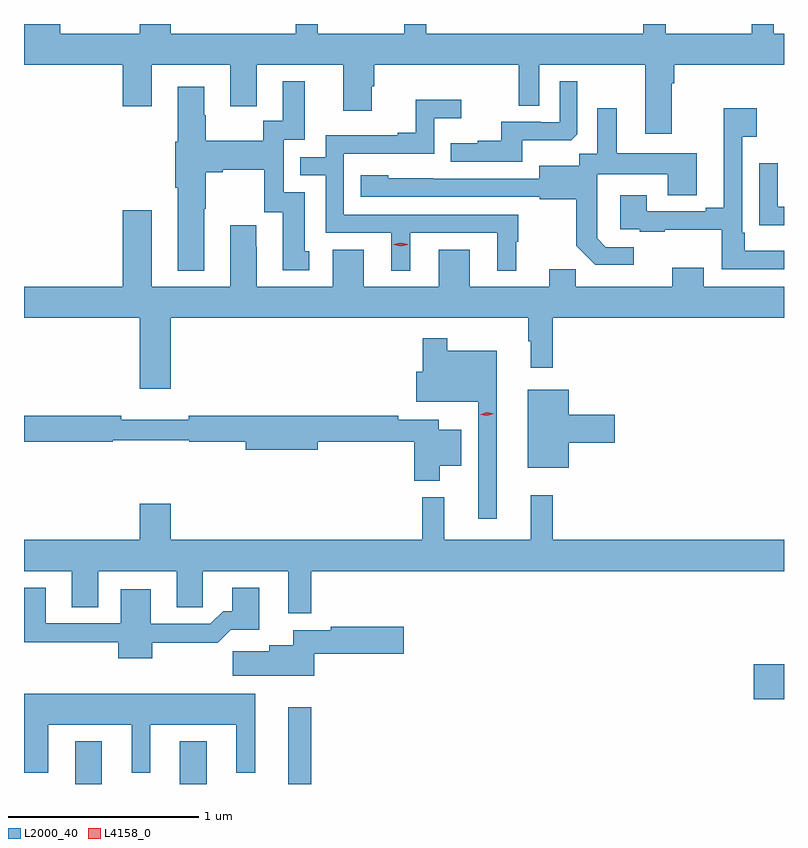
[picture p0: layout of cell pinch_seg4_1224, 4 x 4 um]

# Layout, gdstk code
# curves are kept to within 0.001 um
import gdstk
lib = gdstk.Library(unit=1e-6, precision=1e-09)
def R(c, l, rs):  # rectangles x0, y0, x1, y1
    for r in rs: c.add(gdstk.rectangle(r[:2], r[2:], *l))
def P(c, l, *ps):  # polygons
    for p in ps: c.add(gdstk.Polygon(p, *l))
L2000_40 = (2000, 40)
L4158_0 = (4158, 0)

pinch_seg4_1224 = lib.new_cell('pinch_seg4_1224')
R(pinch_seg4_1224, L2000_40, [(152.681,810.351,152.821,810.577), (153.233,810.351,153.373,810.577), (153.803,810.351,153.925,810.754), (156.252,810.797,156.412,810.98)])
P(pinch_seg4_1224, L2000_40, [(155.821,814.04),(155.834,814.04),(155.834,814.136),(156.412,814.136),(156.412,814.3),(156.359,814.3),(156.359,814.351),(156.242,814.351),(156.242,814.3),(155.789,814.3),(155.789,814.351),(155.671,814.351),(155.671,814.3),(154.529,814.3),(154.529,814.351),(154.412,814.351),(154.412,814.3),(153.959,814.3),(153.959,814.351),(153.841,814.351),(153.841,814.3),(153.184,814.3),(153.184,814.351),(153.02,814.351),(153.02,814.3),(152.602,814.3),(152.602,814.351),(152.412,814.351),(152.412,814.136),(152.933,814.136),(152.933,813.918),(153.085,813.918),(153.085,814.136),(153.497,814.136),(153.497,813.918),(153.637,813.918),(153.637,814.136),(154.091,814.136),(154.091,813.894),(154.243,813.894),(154.243,814.023),(154.256,814.023),(154.256,814.136),(155.016,814.136),(155.016,813.922),(155.124,813.922),(155.124,814.136),(155.681,814.136),(155.681,813.774),(155.821,813.774)],
  [(155.035,813.74),(155.293,813.74),(155.325,813.771),(155.325,814.051),(155.232,814.051),(155.232,813.834),(155.132,813.834),(155.132,813.837),(154.925,813.837),(154.925,813.736),(154.801,813.736),(154.801,813.724),(154.657,813.724),(154.657,813.627),(155.035,813.627)],
  [(153.361,813.379),(153.369,813.379),(153.369,813.572),(153.457,813.572),(153.457,813.584),(153.677,813.584),(153.677,813.36),(153.773,813.36),(153.773,813.054),(153.913,813.054),(153.913,813.156),(153.889,813.156),(153.889,813.465),(153.78,813.465),(153.78,813.741),(153.889,813.741),(153.889,814.051),(153.773,814.051),(153.773,813.842),(153.672,813.842),(153.672,813.736),(153.369,813.736),(153.369,813.87),(153.361,813.87),(153.361,814.021),(153.221,814.021),(153.221,813.732),(153.209,813.732),(153.209,813.488),(153.221,813.488),(153.221,813.053),(153.361,813.053)],
  [(154.444,813.252),(154.904,813.252),(154.904,813.053),(155.002,813.053),(155.002,813.204),(155.014,813.204),(155.014,813.348),(154.095,813.348),(154.095,813.669),(154.572,813.669),(154.572,813.854),(154.714,813.854),(154.714,813.953),(154.474,813.953),(154.474,813.778),(154.379,813.778),(154.379,813.765),(153.999,813.765),(153.999,813.651),(153.865,813.651),(153.865,813.555),(153.999,813.555),(153.999,813.252),(154.346,813.252),(154.346,813.053),(154.444,813.053)],
  [(155.62,813.177),(155.475,813.177),(155.428,813.224),(155.428,813.319),(155.43,813.319),(155.43,813.56),(155.801,813.56),(155.801,813.451),(155.953,813.451),(155.953,813.67),(155.533,813.67),(155.533,813.907),(155.429,813.907),(155.429,813.668),(155.334,813.668),(155.334,813.604),(155.123,813.604),(155.123,813.537),(154.329,813.538),(154.329,813.556),(154.185,813.556),(154.185,813.441),(155.127,813.441),(155.127,813.429),(155.319,813.429),(155.319,813.183),(155.419,813.083),(155.62,813.083)],
  [(156.412,813.157),(156.205,813.157),(156.205,813.253),(156.192,813.253),(156.192,813.758),(156.268,813.758),(156.268,813.907),(156.095,813.907),(156.095,813.385),(155.999,813.385),(155.999,813.366),(155.689,813.366),(155.689,813.451),(155.549,813.451),(155.549,813.27),(155.653,813.27),(155.653,813.258),(155.785,813.258),(155.785,813.269),(156.084,813.269),(156.084,813.06),(156.412,813.06)],
  [(156.412,813.39),(156.378,813.39),(156.378,813.619),(156.282,813.619),(156.282,813.293),(156.412,813.293)],
  [(153.184,812.804),(155.067,812.804),(155.067,812.681),(155.078,812.681),(155.078,812.541),(155.195,812.541),(155.195,812.804),(156.412,812.804),(156.412,812.968),(155.989,812.968),(155.989,813.067),(155.825,813.067),(155.825,812.968),(155.315,812.968),(155.315,813.059),(155.177,813.059),(155.177,812.968),(154.759,812.968),(154.759,813.163),(154.595,813.163),(154.595,812.968),(154.201,812.968),(154.201,813.163),(154.037,813.163),(154.037,812.968),(153.637,812.968),(153.637,813.179),(153.634,813.179),(153.634,813.292),(153.497,813.292),(153.497,812.968),(153.085,812.968),(153.085,813.37),(152.933,813.37),(152.933,812.968),(152.412,812.968),(152.412,812.804),(153.02,812.804),(153.02,812.43),(153.184,812.43)],
  [(154.9,812.632),(154.639,812.632),(154.639,812.698),(154.51,812.698),(154.51,812.521),(154.476,812.521),(154.476,812.363),(154.803,812.363),(154.803,811.746),(154.9,811.746)],
  [(155.278,812.147),(155.521,812.147),(155.521,812.294),(155.278,812.294),(155.278,812.425),(155.063,812.425),(155.063,812.015),(155.278,812.015)],
  [(154.6,812.027),(154.714,812.027),(154.714,812.215),(154.594,812.215),(154.594,812.268),(154.382,812.268),(154.382,812.288),(153.28,812.288),(153.28,812.269),(152.924,812.269),(152.924,812.288),(152.412,812.288),(152.412,812.152),(152.88,812.152),(152.88,812.16),(153.282,812.16),(153.282,812.152),(153.578,812.152),(153.578,812.11),(153.958,812.11),(153.958,812.152),(154.466,812.152),(154.466,811.946),(154.6,811.946)],
  [(153.925,811.472),(156.412,811.472),(156.412,811.636),(155.195,811.636),(155.195,811.87),(155.078,811.87),(155.078,811.636),(154.625,811.636),(154.625,811.861),(154.507,811.861),(154.507,811.636),(153.184,811.636),(153.184,811.825),(153.02,811.825),(153.02,811.636),(152.412,811.636),(152.412,811.472),(152.663,811.472),(152.663,811.282),(152.803,811.282),(152.803,811.472),(153.215,811.472),(153.215,811.282),(153.354,811.282),(153.354,811.472),(153.803,811.472),(153.803,811.251),(153.925,811.251)],
  [(153.087,811.094),(153.431,811.094),(153.5,811.163),(153.649,811.163),(153.649,811.384),(153.509,811.384),(153.509,811.261),(153.46,811.261),(153.393,811.194),(153.079,811.194),(153.079,811.375),(152.921,811.375),(152.921,811.197),(152.527,811.197),(152.527,811.384),(152.412,811.384),(152.412,811.096),(152.909,811.096),(152.909,811.013),(153.087,811.013)],
  [(153.94,811.037),(154.411,811.037),(154.411,811.179),(154.026,811.179),(154.026,811.159),(153.83,811.159),(153.83,811.081),(153.704,811.081),(153.704,811.049),(153.51,811.049),(153.51,810.92),(153.94,810.92)],
  [(152.539,810.662),(152.978,810.662),(152.978,810.411),(153.076,810.411),(153.076,810.662),(153.53,810.662),(153.53,810.411),(153.628,810.411),(153.628,810.826),(152.412,810.826),(152.412,810.411),(152.539,810.411)])
P(pinch_seg4_1224, L4158_0, [(154.395,813.181),(154.359,813.19),(154.359,813.191),(154.359,813.191),(154.395,813.201),(154.431,813.191),(154.431,813.191),(154.431,813.19)],
  [(154.85,812.288),(154.814,812.295),(154.814,812.295),(154.814,812.295),(154.848,812.308),(154.884,812.3),(154.884,812.3),(154.884,812.3)])

lib.write_gds('pinch_seg4_1224.gds')
